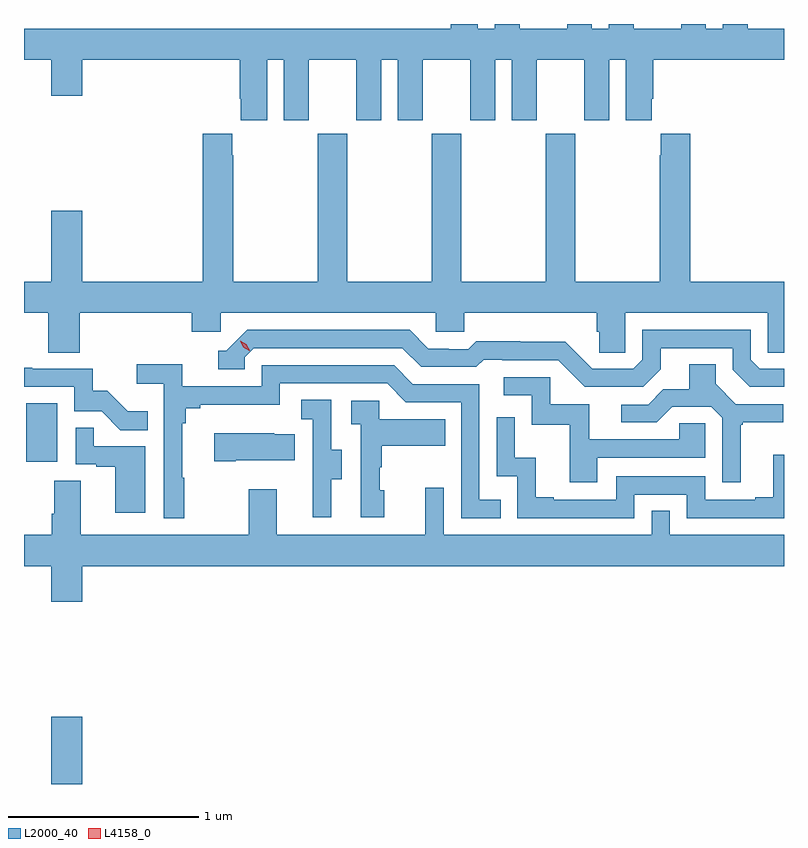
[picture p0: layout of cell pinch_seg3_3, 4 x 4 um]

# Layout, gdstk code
import gdstk
lib = gdstk.Library(unit=1e-6, precision=1e-09)
def R(c, l, rs):  # rectangles x0, y0, x1, y1
    for r in rs: c.add(gdstk.rectangle(r[:2], r[2:], *l))
def P(c, l, *ps):  # polygons
    for p in ps: c.add(gdstk.Polygon(p, *l))
L2000_40 = (2000, 40)
L4158_0 = (4158, 0)

pinch_seg3_3 = lib.new_cell('pinch_seg3_3')
R(pinch_seg3_3, L2000_40, [(1142.03,741.061,1142.194,741.415), (1141.898,742.758,1142.062,743.065)])
P(pinch_seg3_3, L2000_40, [(1143.166,744.872),(1143.254,744.872),(1143.254,744.555),(1143.385,744.555),(1143.385,744.872),(1143.635,744.872),(1143.635,744.555),(1143.766,744.555),(1143.766,744.872),(1143.854,744.872),(1143.854,744.555),(1143.985,744.555),(1143.985,744.872),(1144.235,744.872),(1144.235,744.555),(1144.366,744.555),(1144.366,744.872),(1144.454,744.872),(1144.454,744.555),(1144.585,744.555),(1144.585,744.872),(1144.835,744.872),(1144.835,744.555),(1144.966,744.555),(1144.966,744.872),(1145.054,744.872),(1145.054,744.555),(1145.191,744.555),(1145.191,744.667),(1145.198,744.667),(1145.198,744.872),(1145.887,744.872),(1145.887,745.036),(1145.695,745.036),(1145.695,745.061),(1145.564,745.061),(1145.564,745.036),(1145.476,745.036),(1145.476,745.061),(1145.345,745.061),(1145.345,745.036),(1145.095,745.036),(1145.095,745.061),(1144.964,745.061),(1144.964,745.036),(1144.876,745.036),(1144.876,745.061),(1144.745,745.061),(1144.745,745.036),(1144.495,745.036),(1144.495,745.061),(1144.364,745.061),(1144.364,745.036),(1144.276,745.036),(1144.276,745.061),(1144.133,745.061),(1144.133,745.036),(1141.887,745.036),(1141.887,744.872),(1142.03,744.872),(1142.03,744.684),(1142.194,744.684),(1142.194,744.872),(1143.023,744.872),(1143.023,744.667),(1143.029,744.667),(1143.029,744.555),(1143.166,744.555)],
  [(1142.18,743.54),(1142.771,743.54),(1142.771,743.442),(1142.922,743.442),(1142.922,743.54),(1144.053,743.54),(1144.053,743.442),(1144.203,743.442),(1144.203,743.54),(1144.901,743.54),(1144.901,743.442),(1144.915,743.442),(1144.915,743.332),(1145.052,743.332),(1145.052,743.54),(1145.802,743.54),(1145.802,743.332),(1145.887,743.332),(1145.887,743.704),(1145.393,743.704),(1145.393,744.484),(1145.237,744.484),(1145.237,744.371),(1145.233,744.371),(1145.233,743.704),(1144.788,743.704),(1144.788,744.484),(1144.633,744.484),(1144.633,743.704),(1144.188,743.704),(1144.188,744.484),(1144.033,744.484),(1144.033,743.704),(1143.588,743.704),(1143.588,744.484),(1143.433,744.484),(1143.433,743.704),(1142.988,743.704),(1142.988,744.371),(1142.983,744.371),(1142.983,744.484),(1142.828,744.484),(1142.828,743.704),(1142.194,743.704),(1142.194,744.079),(1142.03,744.079),(1142.03,743.704),(1141.887,743.704),(1141.887,743.54),(1142.015,743.54),(1142.015,743.332),(1142.18,743.332)],
  [(1145.239,743.245),(1145.239,743.355),(1145.616,743.355),(1145.616,743.241),(1145.706,743.151),(1145.887,743.151),(1145.887,743.247),(1145.76,743.247),(1145.712,743.295),(1145.712,743.451),(1145.142,743.451),(1145.142,743.295),(1145.094,743.247),(1144.878,743.247),(1144.736,743.389),(1144.5,743.389),(1144.5,743.392),(1144.267,743.392),(1144.225,743.349),(1144.122,743.349),(1144.122,743.352),(1144.015,743.352),(1143.916,743.451),(1143.063,743.451),(1142.952,743.34),(1142.909,743.34),(1142.909,743.244),(1143.048,743.244),(1143.048,743.307),(1143.096,743.355),(1143.879,743.355),(1143.978,743.256),(1144.267,743.256),(1144.306,743.295),(1144.405,743.295),(1144.405,743.292),(1144.698,743.292),(1144.839,743.151),(1145.145,743.151)],
  [(1145.659,742.953),(1145.671,742.953),(1145.671,742.964),(1145.884,742.964),(1145.884,743.061),(1145.634,743.061),(1145.527,743.168),(1145.527,743.27),(1145.387,743.27),(1145.387,743.138),(1145.252,743.138),(1145.172,743.058),(1145.031,743.058),(1145.031,742.965),(1145.218,742.965),(1145.299,743.046),(1145.505,743.046),(1145.562,742.989),(1145.562,742.65),(1145.659,742.65)],
  [(1142.731,742.673),(1142.719,742.673),(1142.719,742.961),(1142.738,742.961),(1142.738,743.038),(1142.815,743.038),(1142.815,743.057),(1143.234,743.057),(1143.234,743.169),(1143.798,743.169),(1143.897,743.07),(1144.188,743.07),(1144.188,742.461),(1144.397,742.461),(1144.397,742.557),(1144.284,742.557),(1144.284,743.166),(1143.934,743.166),(1143.835,743.265),(1143.138,743.265),(1143.138,743.154),(1142.72,743.154),(1142.72,743.27),(1142.481,743.27),(1142.481,743.168),(1142.622,743.168),(1142.622,742.461),(1142.731,742.461)],
  [(1142.537,743.023),(1142.433,743.023),(1142.326,743.13),(1142.25,743.13),(1142.25,743.247),(1141.931,743.247),(1141.931,743.252),(1141.887,743.252),(1141.887,743.151),(1142.151,743.151),(1142.151,743.022),(1142.295,743.022),(1142.393,742.924),(1142.537,742.924)],
  [(1144.903,742.779),(1145.472,742.779),(1145.472,742.959),(1145.335,742.959),(1145.335,742.875),(1144.861,742.875),(1144.861,743.061),(1144.656,743.061),(1144.656,743.202),(1144.413,743.202),(1144.413,743.106),(1144.56,743.106),(1144.56,742.953),(1144.759,742.953),(1144.759,742.65),(1144.903,742.65)],
  [(1143.505,742.666),(1143.559,742.666),(1143.559,742.821),(1143.504,742.821),(1143.504,743.084),(1143.345,743.084),(1143.345,742.981),(1143.408,742.981),(1143.408,742.677),(1143.407,742.677),(1143.407,742.464),(1143.505,742.464)],
  [(1143.784,742.608),(1143.759,742.608),(1143.759,742.727),(1143.769,742.727),(1143.769,742.841),(1144.103,742.841),(1144.103,742.981),(1143.756,742.981),(1143.756,743.079),(1143.609,743.079),(1143.609,742.955),(1143.66,742.955),(1143.66,742.464),(1143.784,742.464)],
  [(1145.1,742.584),(1145.376,742.584),(1145.376,742.461),(1145.887,742.461),(1145.887,742.795),(1145.831,742.795),(1145.831,742.57),(1145.735,742.57),(1145.735,742.557),(1145.472,742.557),(1145.472,742.68),(1145.004,742.68),(1145.004,742.557),(1144.675,742.557),(1144.675,742.57),(1144.58,742.57),(1144.58,742.778),(1144.47,742.778),(1144.47,742.99),(1144.374,742.99),(1144.374,742.68),(1144.482,742.68),(1144.482,742.461),(1145.1,742.461)],
  [(1142.524,742.839),(1142.255,742.839),(1142.255,742.937),(1142.16,742.937),(1142.16,742.743),(1142.267,742.743),(1142.267,742.731),(1142.366,742.731),(1142.366,742.488),(1142.524,742.488)],
  [(1143.001,742.766),(1143.311,742.766),(1143.311,742.903),(1143.203,742.903),(1143.203,742.906),(1142.889,742.906),(1142.889,742.759),(1143.001,742.759)],
  [(1142.194,742.208),(1145.887,742.208),(1145.887,742.372),(1145.286,742.372),(1145.286,742.499),(1145.19,742.499),(1145.19,742.372),(1144.095,742.372),(1144.095,742.621),(1143.998,742.621),(1143.998,742.372),(1143.217,742.372),(1143.217,742.612),(1143.07,742.612),(1143.07,742.372),(1142.185,742.372),(1142.185,742.658),(1142.045,742.658),(1142.045,742.484),(1142.033,742.484),(1142.033,742.372),(1141.887,742.372),(1141.887,742.208),(1142.03,742.208),(1142.03,742.02),(1142.194,742.02)])
P(pinch_seg3_3, L4158_0, [(1143.073,743.342),(1143.042,743.361),(1143.026,743.394),(1143.026,743.394),(1143.026,743.394),(1143.057,743.375),(1143.074,743.343),(1143.074,743.342)])

lib.write_gds('pinch_seg3_3.gds')
